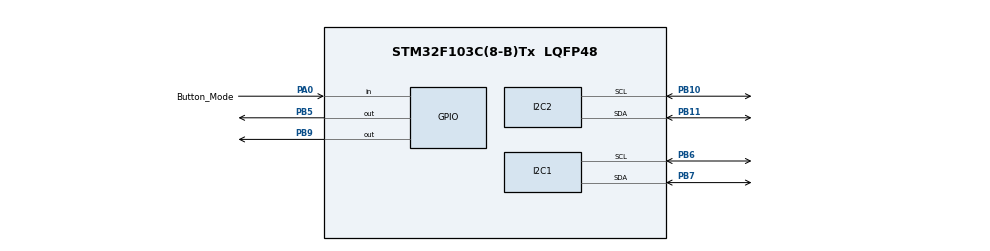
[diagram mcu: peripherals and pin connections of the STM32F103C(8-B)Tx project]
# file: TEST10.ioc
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I2C1.I2C_Mode=I2C_Fast
Mcu.Family=STM32F1
Mcu.Name=STM32F103C(8-B)Tx
Mcu.Package=LQFP48
NVIC.PriorityGroup=NVIC_PRIORITYGROUP_4
PA0-WKUP.GPIO_Label=Button_Mode
PA0-WKUP.GPIO_PuPd=GPIO_PULLUP
PA0-WKUP.Signal=GPIO_Input
PA13.Mode=Serial_Wire
PA13.Signal=SYS_JTMS-SWDIO
PA14.Mode=Serial_Wire
PA14.Signal=SYS_JTCK-SWCLK
PB10.Mode=I2C
PB10.Signal=I2C2_SCL
PB11.Mode=I2C
PB11.Signal=I2C2_SDA
PB5.Signal=GPIO_Output
PB6.Mode=I2C
PB6.Signal=I2C1_SCL
PB7.Mode=I2C
PB7.Signal=I2C1_SDA
PB9.Signal=GPIO_Output
PD0-OSC_IN.Mode=HSE-External-Oscillator
PD0-OSC_IN.Signal=RCC_OSC_IN
PD1-OSC_OUT.Mode=HSE-External-Oscillator
PD1-OSC_OUT.Signal=RCC_OSC_OUT
ProjectManager.HeapSize=0x200
ProjectManager.StackSize=0x400
ProjectManager.TargetToolchain=MDK-ARM V5.32
RCC.AHBFreq_Value=72000000
RCC.APB1CLKDivider=RCC_HCLK_DIV2
RCC.APB1Freq_Value=36000000
RCC.APB1TimFreq_Value=72000000
RCC.APB2Freq_Value=72000000
RCC.APB2TimFreq_Value=72000000
RCC.HCLKFreq_Value=72000000
RCC.PLLMUL=RCC_PLL_MUL9
RCC.PLLSourceVirtual=RCC_PLLSOURCE_HSE
RCC.SYSCLKFreq_VALUE=72000000
RCC.SYSCLKSource=RCC_SYSCLKSOURCE_PLLCLK
RCC.USBFreq_Value=72000000
TIM1.Prescaler=71
VP_TIM1_VS_ClockSourceINT.Mode=Internal
board=custom

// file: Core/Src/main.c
	/* USER CODE BEGIN Header */
	/**
		******************************************************************************
		* @file           : main.c
		* @brief          : Main program body
		******************************************************************************
		* @attention
		*
		* Copyright (c) 2025 STMicroelectronics.
		* All rights reserved.
		*
		* This software is licensed under terms that can be found in the LICENSE file
		* in the root directory of this software component.
		* If no LICENSE file comes with this software, it is provided AS-IS.
		*
		******************************************************************************
		*/
	/* USER CODE END Header */
	/* Includes ------------------------------------------------------------------*/
	#include "main.h"
	#include "ssd1306.h"
	#include "fonts.h"
	#include "stdio.h"
	#include <math.h>
	#include "mpu6050.h"
	#include "dht11.h"
	/* Private includes ----------------------------------------------------------*/

	/* Private typedef -----------------------------------------------------------*/

	/* Private define ------------------------------------------------------------*/

	/* Private macro -------------------------------------------------------------*/

	/* Private variables ---------------------------------------------------------*/
	I2C_HandleTypeDef hi2c1;
	I2C_HandleTypeDef hi2c2;

	TIM_HandleTypeDef htim1;

	/* USER CODE BEGIN PV */
	uint8_t mode = 1;               // 1: Normal, 2: Sensitive, 3: Silent
	uint8_t lastButtonState = 1;    // phat hien chuyen doi

	float AX, AY, AZ;
	uint8_t RHI, RHD, TCI, TCD, SUM;
	float tCelsius = 0, tFahrenheit = 0, RH = 0;
	uint8_t TFI = 0, TFD = 0;
	char strCopy[20];
	/* USER CODE END PV */

	/* Private function prototypes -----------------------------------------------*/
	void SystemClock_Config(void);
	static void MX_GPIO_Init(void);
	static void MX_I2C1_Init(void);
	static void MX_I2C2_Init(void);
	static void MX_TIM1_Init(void);

	/* Private user code ---------------------------------------------------------*/
	/* USER CODE BEGIN 0 */
	void Buzzer_On(void)
	{
			HAL_GPIO_WritePin(GPIOB, GPIO_PIN_5, GPIO_PIN_SET);
	}

	void Buzzer_Off(void)
	{
			HAL_GPIO_WritePin(GPIOB, GPIO_PIN_5, GPIO_PIN_RESET);
	}
	/* USER CODE END 0 */

	/**
		* @brief  The application entry point.
		* @retval int
		*/
	int main(void)
	{

		/* MCU Configuration--------------------------------------------------------*/

		/* Reset of all peripherals, Initializes the Flash interface and the Systick. */
		HAL_Init();

		/* Configure the system clock */
		SystemClock_Config();

		/* Initialize all configured peripherals */
		MX_GPIO_Init();
		MX_I2C1_Init();
		MX_I2C2_Init();
		MX_TIM1_Init();
		/* USER CODE BEGIN 2 */
		HAL_TIM_Base_Start(&htim1);
		SSD1306_Init();
		 MPU6050_Init();
		/* USER CODE END 2 */

		/* Infinite loop */
		/* USER CODE BEGIN WHILE */

	while (1)
		{

	// ===== ĐỌC NÚT CHUYỂN CHẾ ĐỘ =====
	uint8_t currentButtonState = HAL_GPIO_ReadPin(Button_Mode_GPIO_Port, Button_Mode_Pin);

			SSD1306_GotoXY(100, 0);
	SSD1306_Puts(currentButtonState ? "1" : "0", &Font_7x10, 1);
	SSD1306_UpdateScreen();

	// Phát hiện nhấn (từ 1 -> 0)
	if (lastButtonState == 1 && currentButtonState == 0)
	{
			HAL_Delay(50); // chống dội nút

			// kiểm tra lại sau khi delay để chắc chắn vẫn nhấn
			if (HAL_GPIO_ReadPin(Button_Mode_GPIO_Port, Button_Mode_Pin) == 0)
			{
					mode++;
					if (mode > 3) mode = 1; // quay lại mode 1 sau mode 3
			}
	}

	lastButtonState = currentButtonState;

			/* USER CODE END WHILE */
		MPU6050_Read_Accel(&AX, &AY, &AZ);
			float vibration = fastSqrt(AX*AX + AY*AY + AZ*AZ) - 1.0f;
			if (vibration < 0) vibration = -vibration;
	 if(DHT11_Start())
			{
				RHI = DHT11_Read(); // do am nguyen
				RHD = DHT11_Read(); // do am thap phan
				TCI = DHT11_Read(); // nhiet do nguyen
				TCD = DHT11_Read(); // nhiet do thap phan
				SUM = DHT11_Read(); // Check sum
				if (RHI + RHD + TCI + TCD == SUM)
				{
					// Can use RHI and TCI for any purposes if whole number only needed
					tCelsius = (float)TCI + (float)(TCD/10.0);
					tFahrenheit = tCelsius * 9/5 + 32;
					RH = (float)RHI + (float)(RHD/10.0);
					// Can use tCelsius, tFahrenheit and RH for any purposes
					TFI = tFahrenheit;  // Fahrenheit integral
					TFD = tFahrenheit*10-TFI*10; // Fahrenheit decimal
					sprintf(strCopy,"%d.%d C   ", TCI, TCD);
					SSD1306_GotoXY (0, 0);
					SSD1306_Puts (strCopy, &Font_7x10, 1);
					sprintf(strCopy,"Hum: %.1f %%", RH);
					SSD1306_GotoXY (0, 16);
					SSD1306_Puts (strCopy, &Font_7x10, 1);
						sprintf(strCopy, "Vib: %.2f g", vibration);
							SSD1306_GotoXY(0, 30);
							SSD1306_Puts(strCopy, &Font_7x10, 1);

	if (mode == 1)
			sprintf(strCopy, "Mode: 1-Normal");
	else if (mode == 2)
			sprintf(strCopy, "Mode: 2-Sensitive");
	else
			sprintf(strCopy, "Mode: 3-Silent");

	SSD1306_GotoXY(0, 45);
	SSD1306_Puts(strCopy, &Font_7x10, 1);

							SSD1306_UpdateScreen();
											// ===== KI?M TRA C?NH BÁO =====
				// ===== KIỂM TRA CẢNH BÁO THEO CHẾ ĐỘ =====
	if (mode == 1)
	{
			// Chế độ bình thường
			if (tCelsius > 50.0f || vibration > 0.7f)
					Buzzer_On();
			else
					Buzzer_Off();
	}
	else if (mode == 2)
	{
			// Chế độ nhạy cao
			if (tCelsius > 35.0f || vibration > 1.6f)
					Buzzer_On();
			else
					Buzzer_Off();
	}
	else if (mode == 3)
	{
			// Chế độ im lặng
			Buzzer_Off();
	}

				}
			}
			HAL_Delay(300);
			/* USER CODE BEGIN 3 */
		}
		/* USER CODEODE END 3 */
	}

	/**
		* @brief System Clock Configuration
		* @retval None
		*/
	void SystemClock_Config(void)
	{
		RCC_OscInitTypeDef RCC_OscInitStruct = {0};
		RCC_ClkInitTypeDef RCC_ClkInitStruct = {0};

		/** Initializes the RCC Oscillators according to the specified parameters
		* in the RCC_OscInitTypeDef structure.
		*/
		RCC_OscInitStruct.OscillatorType = RCC_OSCILLATORTYPE_HSE;
		RCC_OscInitStruct.HSEState = RCC_HSE_ON;
		RCC_OscInitStruct.HSEPredivValue = RCC_HSE_PREDIV_DIV1;
		RCC_OscInitStruct.HSIState = RCC_HSI_ON;
		RCC_OscInitStruct.PLL.PLLState = RCC_PLL_ON;
		RCC_OscInitStruct.PLL.PLLSource = RCC_PLLSOURCE_HSE;
		RCC_OscInitStruct.PLL.PLLMUL = RCC_PLL_MUL9;
		if (HAL_RCC_OscConfig(&RCC_OscInitStruct) != HAL_OK)
		{
			Error_Handler();
		}

		/** Initializes the CPU, AHB and APB buses clocks
		*/
		RCC_ClkInitStruct.ClockType = RCC_CLOCKTYPE_HCLK|RCC_CLOCKTYPE_SYSCLK
																|RCC_CLOCKTYPE_PCLK1|RCC_CLOCKTYPE_PCLK2;
		RCC_ClkInitStruct.SYSCLKSource = RCC_SYSCLKSOURCE_PLLCLK;
		RCC_ClkInitStruct.AHBCLKDivider = RCC_SYSCLK_DIV1;
		RCC_ClkInitStruct.APB1CLKDivider = RCC_HCLK_DIV2;
		RCC_ClkInitStruct.APB2CLKDivider = RCC_HCLK_DIV1;

		if (HAL_RCC_ClockConfig(&RCC_ClkInitStruct, FLASH_LATENCY_2) != HAL_OK)
		{
			Error_Handler();
		}
	}

	/**
		* @brief I2C1 Initialization Function
		* @param None
		* @retval None
		*/
	static void MX_I2C1_Init(void)
	{

		hi2c1.Instance = I2C1;
		hi2c1.Init.ClockSpeed = 400000;
		hi2c1.Init.DutyCycle = I2C_DUTYCYCLE_2;
		hi2c1.Init.OwnAddress1 = 0;
		hi2c1.Init.AddressingMode = I2C_ADDRESSINGMODE_7BIT;
		hi2c1.Init.DualAddressMode = I2C_DUALADDRESS_DISABLE;
		hi2c1.Init.OwnAddress2 = 0;
		hi2c1.Init.GeneralCallMode = I2C_GENERALCALL_DISABLE;
		hi2c1.Init.NoStretchMode = I2C_NOSTRETCH_DISABLE;
		if (HAL_I2C_Init(&hi2c1) != HAL_OK)
		{
			Error_Handler();
		}

	}

	/**
		* @brief I2C2 Initialization Function
		* @param None
		* @retval None
		*/
	static void MX_I2C2_Init(void)
	{

		hi2c2.Instance = I2C2;
		hi2c2.Init.ClockSpeed = 100000;
		hi2c2.Init.DutyCycle = I2C_DUTYCYCLE_2;
		hi2c2.Init.OwnAddress1 = 0;
		hi2c2.Init.AddressingMode = I2C_ADDRESSINGMODE_7BIT;
		hi2c2.Init.DualAddressMode = I2C_DUALADDRESS_DISABLE;
		hi2c2.Init.OwnAddress2 = 0;
		hi2c2.Init.GeneralCallMode = I2C_GENERALCALL_DISABLE;
		hi2c2.Init.NoStretchMode = I2C_NOSTRETCH_DISABLE;
		if (HAL_I2C_Init(&hi2c2) != HAL_OK)
		{
			Error_Handler();
		}

	}

	/**
		* @brief TIM1 Initialization Function
		* @param None
		* @retval None
		*/
	static void MX_TIM1_Init(void)
	{

		TIM_ClockConfigTypeDef sClockSourceConfig = {0};
		TIM_MasterConfigTypeDef sMasterConfig = {0};

		htim1.Instance = TIM1;
		htim1.Init.Prescaler = 71;
		htim1.Init.CounterMode = TIM_COUNTERMODE_UP;
		htim1.Init.Period = 65535;
		htim1.Init.ClockDivision = TIM_CLOCKDIVISION_DIV1;
		htim1.Init.RepetitionCounter = 0;
		htim1.Init.AutoReloadPreload = TIM_AUTORELOAD_PRELOAD_DISABLE;
		if (HAL_TIM_Base_Init(&htim1) != HAL_OK)
		{
			Error_Handler();
		}
		sClockSourceConfig.ClockSource = TIM_CLOCKSOURCE_INTERNAL;
		if (HAL_TIM_ConfigClockSource(&htim1, &sClockSourceConfig) != HAL_OK)
		{
			Error_Handler();
		}
		sMasterConfig.MasterOutputTrigger = TIM_TRGO_RESET;
		sMasterConfig.MasterSlaveMode = TIM_MASTERSLAVEMODE_DISABLE;
		if (HAL_TIMEx_MasterConfigSynchronization(&htim1, &sMasterConfig) != HAL_OK)
		{
			Error_Handler();
		}

	}

	/**
		* @brief GPIO Initialization Function
		* @param None
		* @retval None
		*/
	static void MX_GPIO_Init(void)
	{
		GPIO_InitTypeDef GPIO_InitStruct = {0};

		/* GPIO Ports Clock Enable */
		__HAL_RCC_GPIOD_CLK_ENABLE();
		__HAL_RCC_GPIOA_CLK_ENABLE();
		__HAL_RCC_GPIOB_CLK_ENABLE();

		/*Configure GPIO pin Output Level */
		HAL_GPIO_WritePin(GPIOB, GPIO_PIN_5|GPIO_PIN_9, GPIO_PIN_RESET);

		/*Configure GPIO pin : Button_Mode_Pin */
		GPIO_InitStruct.Pin = Button_Mode_Pin;
		GPIO_InitStruct.Mode = GPIO_MODE_INPUT;
		GPIO_InitStruct.Pull = GPIO_PULLUP;
		HAL_GPIO_Init(Button_Mode_GPIO_Port, &GPIO_InitStruct);

		/*Configure GPIO pins : PB5 PB9 */
		GPIO_InitStruct.Pin = GPIO_PIN_5|GPIO_PIN_9;
		GPIO_InitStruct.Mode = GPIO_MODE_OUTPUT_PP;
		GPIO_InitStruct.Pull = GPIO_NOPULL;
		GPIO_InitStruct.Speed = GPIO_SPEED_FREQ_LOW;
		HAL_GPIO_Init(GPIOB, &GPIO_InitStruct);

	}

	/**
		* @brief  This function is executed in case of error occurrence.
		* @retval None
		*/
	void Error_Handler(void)
	{
		__disable_irq();
		while (1)
		{
		}
	}
	#ifdef USE_FULL_ASSERT
	/**
		* @brief  Reports the name of the source file and the source line number
		*         where the assert_param error has occurred.
		* @param  file: pointer to the source file name
		* @param  line: assert_param error line source number
		* @retval None
		*/
	void assert_failed(uint8_t *file, uint32_t line)
	{
	}
	#endif /* USE_FULL_ASSERT */
